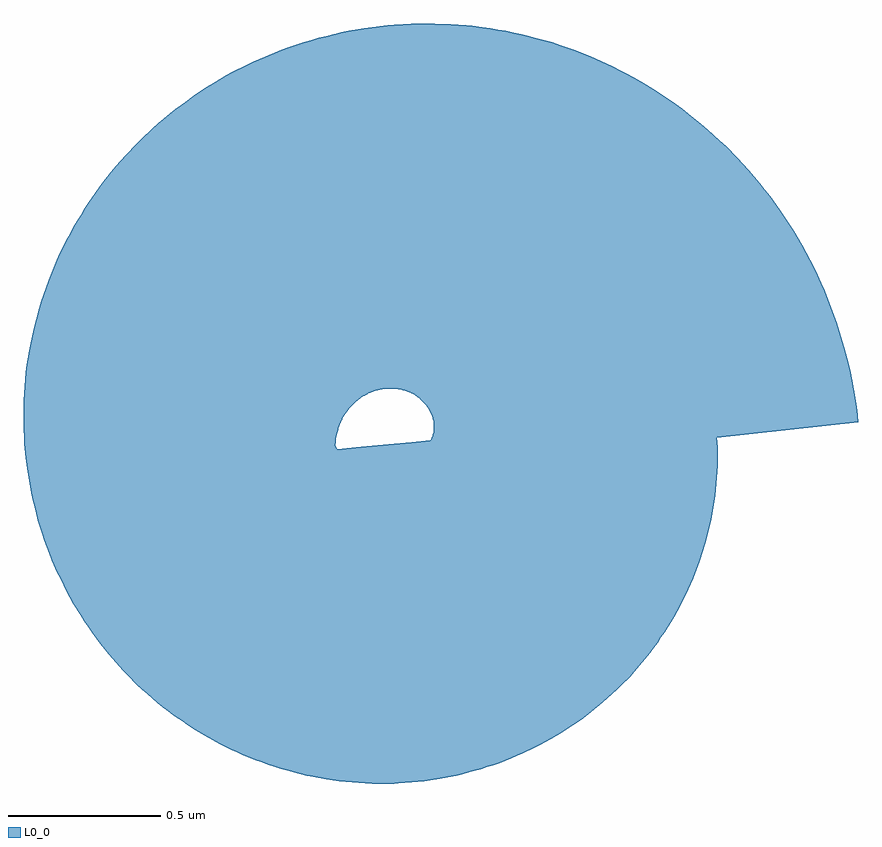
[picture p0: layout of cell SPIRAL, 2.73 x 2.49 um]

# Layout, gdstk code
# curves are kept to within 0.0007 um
import gdstk
lib = gdstk.Library(unit=1e-6, precision=1e-09)
def P(c, l, *ps):  # polygons
    for p in ps: c.add(gdstk.Polygon(p, *l))
L0_0 = (0, 0)

spiral = lib.new_cell('SPIRAL')
P(spiral, L0_0, [(-0.705,1.102),(-0.737,1.079),(-0.756,1.063),(-0.776,1.048),(-0.813,1.015),(-0.866,0.964),(-0.9,0.928),(-0.932,0.892),(-0.978,0.835),(-1.02,0.775),(-1.059,0.714),(-1.094,0.65),(-1.125,0.585),(-1.152,0.519),(-1.176,0.451),(-1.183,0.428),(-1.201,0.359),(-1.211,0.313),(-1.223,0.243),(-1.232,0.149),(-1.234,0.102),(-1.234,0.055),(-1.232,0.008),(-1.227,-0.061),(-1.221,-0.107),(-1.209,-0.176),(-1.204,-0.199),(-1.187,-0.266),(-1.158,-0.353),(-1.123,-0.438),(-1.093,-0.499),(-1.071,-0.539),(-1.035,-0.597),(-1.01,-0.634),(-0.969,-0.688),(-0.91,-0.756),(-0.863,-0.804),(-0.83,-0.834),(-0.796,-0.863),(-0.744,-0.904),(-0.705,-0.93)],
  [(-0.705,-0.93),(-0.67,-0.953),(-0.632,-0.976),(-0.594,-0.997),(-0.535,-1.025),(-0.494,-1.043),(-0.433,-1.066),(-0.392,-1.079),(-0.366,-1.086),(-0.366,1.282),(-0.413,1.264),(-0.482,1.234),(-0.549,1.201),(-0.571,1.189),(-0.636,1.15),(-0.677,1.123),(-0.705,1.102)],
  [(-0.211,-0.028),(-0.214,-0.021),(-0.213,-0.006),(-0.211,0.005),(-0.211,1.326),(-0.269,1.312),(-0.318,1.298),(-0.366,1.282),(-0.366,-1.086),(-0.35,-1.091),(-0.308,-1.101),(-0.244,-1.113),(-0.211,-1.118)],
  [(-0.129,1.342),(-0.17,1.335),(-0.211,1.326),(-0.211,0.009),(-0.203,0.039),(-0.199,0.05),(-0.192,0.063),(-0.191,0.067),(-0.179,0.086),(-0.159,0.111),(-0.146,0.123),(-0.129,0.136)],
  [(-0.129,-0.025),(-0.208,-0.033),(-0.209,-0.031),(-0.211,-0.028),(-0.211,-1.118),(-0.201,-1.119),(-0.18,-1.121),(-0.158,-1.123),(-0.137,-1.125),(-0.129,-1.125)],
  [(-0.121,0.141),(-0.097,0.153),(-0.072,0.161),(-0.047,0.165),(-0.021,0.165),(-0.021,1.355),(-0.094,1.347),(-0.129,1.342),(-0.129,0.136)],
  [(-0.021,-0.016),(-0.129,-0.025),(-0.129,-1.125),(-0.116,-1.126),(-0.094,-1.127),(-0.021,-1.127)],
  [(0.036,1.358),(-0.021,1.355),(-0.021,0.165),(0.009,0.16),(0.033,0.151),(0.035,0.149),(0.036,0.149)],
  [(-0.009,-1.126),(0.013,-1.125),(0.036,-1.123),(0.036,-0.01),(-0.021,-0.016),(-0.021,-1.127)],
  [(0.045,0.144),(0.06,0.134),(0.079,0.116),(0.087,0.104),(0.089,0.103),(0.097,0.088),(0.097,1.359),(0.036,1.358),(0.036,0.149)],
  [(0.076,-1.119),(0.097,-1.116),(0.097,-0.005),(0.036,-0.01),(0.036,-1.123)],
  [(0.118,-1.113),(0.181,-1.101),(0.222,-1.091),(0.234,-1.087),(0.234,1.351),(0.163,1.357),(0.097,1.359),(0.097,0.088),(0.103,0.074),(0.108,0.053),(0.108,0.027),(0.107,0.025),(0.107,0.02),(0.102,0.003),(0.098,-0.005),(0.097,-0.005),(0.097,-1.116)],
  [(0.282,-1.073),(0.322,-1.06),(0.361,-1.045),(0.437,-1.01),(0.437,1.313),(0.42,1.318),(0.343,1.335),(0.234,1.351),(0.234,-1.087),(0.262,-1.08)],
  [(0.62,1.252),(0.546,1.28),(0.496,1.297),(0.437,1.313),(0.437,-1.01),(0.456,-1.001),(0.492,-0.981),(0.563,-0.937),(0.58,-0.925),(0.613,-0.901),(0.661,-0.862),(0.72,-0.807),(0.72,1.205),(0.692,1.219)],
  [(0.75,-0.777),(0.79,-0.731),(0.816,-0.699),(0.84,-0.666),(0.874,-0.616),(0.914,-0.546),(0.932,-0.51),(0.957,-0.455),(0.978,-0.398),(0.996,-0.341),(1.011,-0.283),(1.019,-0.244),(1.028,-0.186),(1.034,-0.127),(1.036,-0.087),(1.036,-0.028),(1.034,0.004),(1.497,0.054),(1.487,0.134),(1.477,0.19),(1.465,0.245),(1.451,0.299),(1.435,0.353),(1.417,0.406),(1.387,0.484),(1.352,0.56),(1.313,0.633),(1.285,0.681),(1.24,0.75),(1.208,0.794),(1.174,0.837),(1.102,0.919),(1.044,0.976),(1.004,1.012),(0.983,1.03),(0.92,1.08),(0.832,1.141),(0.786,1.169),(0.72,1.205),(0.72,-0.807)])

lib.write_gds('SPIRAL.gds')
